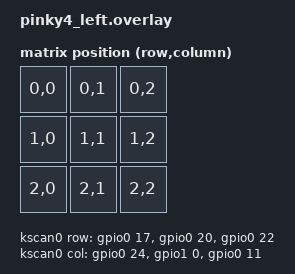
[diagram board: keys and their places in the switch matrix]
/*
 * Copyright (c) 2020 The ZMK Contributors
 *
 * SPDX-License-Identifier: MIT
 */

#include <dt-bindings/zmk/matrix_transform.h>
/ {
    chosen {
        zmk,kscan = &kscan0;
        zmk,matrix-transform = &default_transform;
    };
    kscan0: kscan0 {
        compatible = "zmk, kscan-gpio-matrix";
        diode-direction = "col2row"
        wakeup-source;

        col-gpios
            = <&gpio0 24 GPIO_ACTIVE_HIGH>
            , <&gpio1 0 GPIO_ACTIVE_HIGH>
            , <&gpio0 11 GPIO_ACTIVE_HIGH>
            ;

        row-gpios
            = <&gpio0 17 (GPIO_ACTIVE_HIGH | GPIO_PULL_DOWN)>
            , <&gpio0 20 (GPIO_ACTIVE_HIGH | GPIO_PULL_DOWN)>
            , <&gpio0 22 (GPIO_ACTIVE_HIGH | GPIO_PULL_DOWN)>
            ;
    };

    default_transform: keymap_transform0 {
        compatible = "zmk,matrix-transform";
        columns = <3>; // Length of the "col-gpios" array
        rows = <3>; // Length of the "row-gpios" array
        map = <
        //   Key 1 | Key 2 | Key 3
            RC(0,0) RC(0,1) RC(0,2)
        //   Key 4 | Key 5 | Key 6
            RC(1,0) RC(1,1) RC(1,2)
        //   Key 7 | Key 8 | Key 9
            RC(2,0) RC(2,1) RC(2,2)
        >;
    };
};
